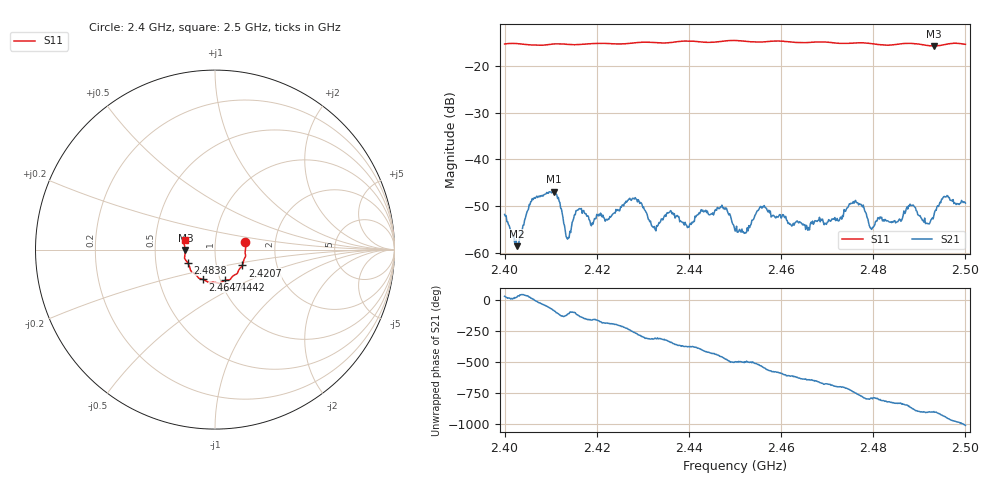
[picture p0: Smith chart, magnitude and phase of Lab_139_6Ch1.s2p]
# Hz S RI R 50
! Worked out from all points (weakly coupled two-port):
!   601 points, 2.4 GHz to 2.5 GHz, reference 50 ohm
!   highest |S21| = -46.90 dB at 2.4107 GHz (marker M1); lowest = -58.6 dB at 2.4027 GHz (marker M2)
!   lowest |S11| = -15.6 dB at 2.4932 GHz (marker M3), VSWR 1.40, Z = 35.8 - j0.145 ohm
!   |S11| at or under -10 dB: start of sweep to end of sweep
!   S12 and S22 are empty: the file has one direction only
!   S11 on the Smith chart (normalised r, x): 2.4 GHz: 1.40, +0.12; 2.4207 GHz: 1.33, -0.24; 2.4442 GHz: 1.05, -0.37; 2.4647 GHz: 0.83, -0.29; 2.4838 GHz: 0.73, -0.11; 2.5 GHz: 0.71, +0.08
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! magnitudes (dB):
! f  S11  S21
! 2.4 GHz  -15.2  -51.8
! 2.4027 GHz  -15.1  -58.6
! 2.4058 GHz  -15.4  -49.0
! 2.4107 GHz  -15.2  -46.9
! 2.4137 GHz  -15.3  -57.1
! 2.4167 GHz  -15.3  -50.5
! 2.4207 GHz  -15.1  -52.1
! 2.4282 GHz  -15.0  -48.5
! 2.4333 GHz  -15.0  -54.1
! 2.4442 GHz  -14.9  -51.7
! 2.4477 GHz  -14.6  -50.4
! 2.45 GHz  -14.4  -55.4
! 2.456 GHz  -14.8  -50.1
! 2.4647 GHz  -14.9  -54.1
! 2.4667 GHz  -14.8  -53.8
! 2.4762 GHz  -15.0  -48.8
! 2.4797 GHz  -15.1  -55.0
! 2.4833 GHz  -15.5  -53.4
! 2.4838 GHz  -15.4  -53.4
! 2.4932 GHz  -15.6  -52.0
! 2.4957 GHz  -15.3  -48.1
! 2.5 GHz  -15.3  -49.4
